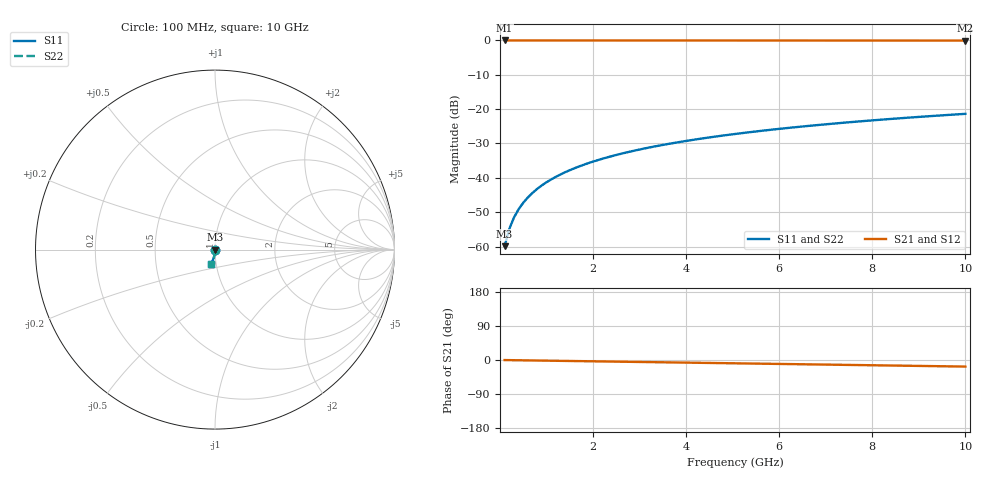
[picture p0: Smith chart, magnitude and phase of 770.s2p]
# Hz S RI R 50.00
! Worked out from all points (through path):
!   100 points, 100 MHz to 10 GHz, reference 50 ohm
!   highest |S21| = 0.00 dB at 100 MHz (marker M1); lowest = 0.0 dB at 10 GHz (marker M2)
!   group delay of S21, straight-line fit = 4.82 ps
!   lowest |S11| = -59.9 dB at 100 MHz (marker M3), VSWR 1.00, Z = 50.1 - j0.0863 ohm
!   |S11| at or under -10 dB: start of sweep to end of sweep
!   |S22| runs from -59.9 to -21.4 dB; largest |S21 - S12| = 0
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1e8  0.000531 -0.000862  0.9995 -0.00301  0.9995 -0.00301  0.000531 -0.000862
2e8  0.000525 -0.00172  0.9994 -0.00602  0.9994 -0.00602  0.000525 -0.00172
3e8  0.000513 -0.00259  0.9994 -0.00903  0.9994 -0.00903  0.000513 -0.00259
4e8  0.000495 -0.00345  0.9994 -0.012  0.9994 -0.012  0.000495 -0.00345
5e8  0.000472 -0.00431  0.9993 -0.0151  0.9993 -0.0151  0.000472 -0.00431
6e8  0.000443 -0.00517  0.9993 -0.0181  0.9993 -0.0181  0.000443 -0.00517
7e8  0.000409 -0.00603  0.9992 -0.0211  0.9992 -0.0211  0.000409 -0.00603
8e8  0.00037 -0.0069  0.9991 -0.0241  0.9991 -0.0241  0.00037 -0.0069
9e8  0.000325 -0.00776  0.999 -0.0271  0.999 -0.0271  0.000325 -0.00776
1.1e9  0.00022 -0.00948  0.9988 -0.0331  0.9988 -0.0331  0.00022 -0.00948
1.4e9  2.31e-05 -0.0121  0.9985 -0.0421  0.9985 -0.0421  2.31e-05 -0.0121
1.8e9  -0.000313 -0.0155  0.9978 -0.0542  0.9978 -0.0542  -0.000313 -0.0155
2.1e9  -0.000619 -0.0181  0.9972 -0.0632  0.9972 -0.0632  -0.000619 -0.0181
2.5e9  -0.0011 -0.0215  0.9963 -0.0752  0.9963 -0.0752  -0.0011 -0.0215
2.9e9  -0.00167 -0.0249  0.9952 -0.0873  0.9952 -0.0873  -0.00167 -0.0249
3.4e9  -0.00249 -0.0292  0.9937 -0.1023  0.9937 -0.1023  -0.00249 -0.0292
4.2e9  -0.00407 -0.0359  0.9907 -0.1262  0.9907 -0.1262  -0.00407 -0.0359
5.1e9  -0.00625 -0.0435  0.9865 -0.1531  0.9865 -0.1531  -0.00625 -0.0435
5.9e9  -0.00852 -0.05  0.9822 -0.177  0.9822 -0.177  -0.00852 -0.05
6.7e9  -0.0111 -0.0565  0.9772 -0.2007  0.9772 -0.2007  -0.0111 -0.0565
8.4e9  -0.0177 -0.0698  0.9646 -0.2506  0.9646 -0.2506  -0.0177 -0.0698
1e10  -0.0251 -0.0817  0.9502 -0.2969  0.9502 -0.2969  -0.0251 -0.0817
